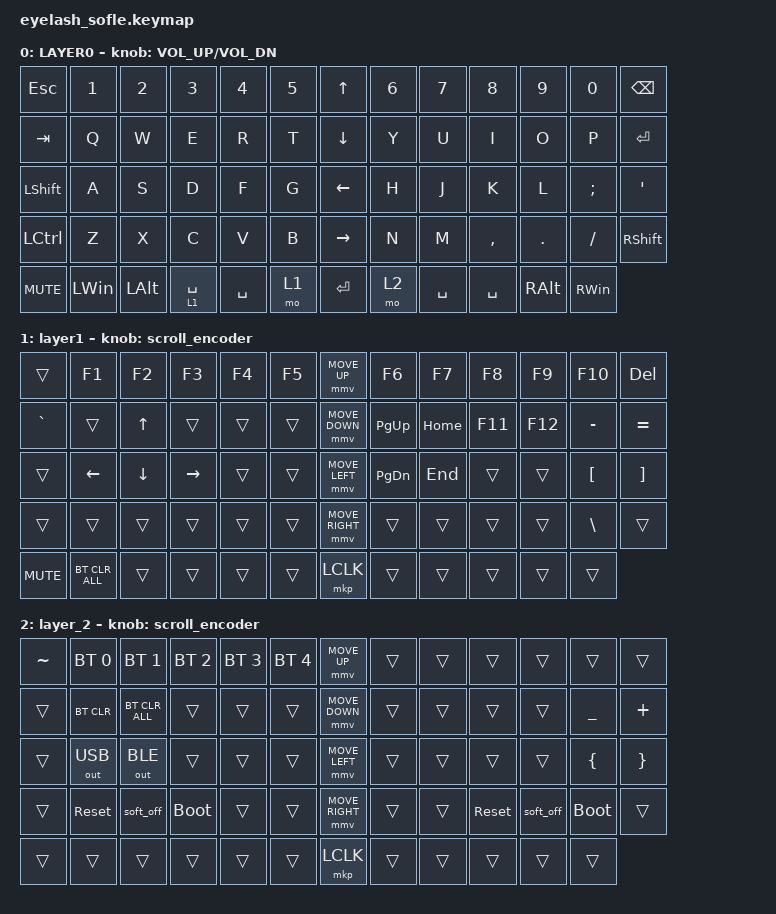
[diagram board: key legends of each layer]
#include <dt-bindings/zmk/mouse.h>
#include <input/processors.dtsi>
#include <behaviors.dtsi>
#include <dt-bindings/zmk/bt.h>
#include <dt-bindings/zmk/keys.h>
#include <dt-bindings/zmk/outputs.h>
#include <dt-bindings/zmk/pointing.h>

/*

   &mmv_input_listener {
       input-processors = <&zip_xy_scaler 2 1>;
   };

   &msc_input_listener {
       input-processors = <&zip_xy_scaler 2 1>;
   };

 */

#define ZMK_MOUSE_DEFAULT_MOVE_VAL 1200  // 600
#define ZMK_MOUSE_DEFAULT_SCRL_VAL 20    // 10

/ {
    behaviors {
        mmv {
            acceleration-exponent = <1>;      // 1
            time-to-max-speed-ms = <900>;    // 40
            delay-ms = <0>;                   // 0
        };

        msc {
            acceleration-exponent = <1>;      // 0
            time-to-max-speed-ms = <400>;      // 500
            delay-ms = <0>;                   //   10
        };
    };

    scroll_encoder: scroll_encoder {
        compatible = "zmk,behavior-sensor-rotate";
        #sensor-binding-cells = <0>;
        bindings = <&msc SCRL_DOWN>, <&msc SCRL_UP>;

        tap-ms = <30>;
    };

    Tap_Dance: Tap_Dance {
        compatible = "zmk,behavior-hold-tap";
        label = "TAP_DANCE";
        bindings = <&mo>, <&kp>;

        #binding-cells = <2>;
        tapping-term-ms = <200>;
    };

    keymap {
        compatible = "zmk,keymap";

        layer0 {
            bindings = <
&kp ESC         &kp N1        &kp N2        &kp N3              &kp N4     &kp N5    &kp UP_ARROW     &kp N6  &kp N7     &kp N8     &kp N9         &kp N0         &kp BACKSPACE
&kp TAB         &kp Q         &kp W         &kp E               &kp R      &kp T     &kp DOWN_ARROW   &kp Y   &kp U      &kp I      &kp O          &kp P          &kp ENTER
&kp LEFT_SHIFT  &kp A         &kp S         &kp D               &kp F      &kp G     &kp LEFT_ARROW   &kp H   &kp J      &kp K      &kp L          &kp SEMI       &kp APOS
&kp LCTRL       &kp Z         &kp X         &kp C               &kp V      &kp B     &kp RIGHT_ARROW  &kp N   &kp M      &kp COMMA  &kp DOT        &kp FSLH       &kp RIGHT_SHIFT
&kp C_MUTE      &kp LEFT_WIN  &kp LEFT_ALT  &Tap_Dance 1 SPACE  &kp SPACE  &mo 1     &kp ENTER        &mo 2   &kp SPACE  &kp SPACE  &kp RIGHT_ALT  &kp RIGHT_WIN
            >;

            sensor-bindings = <&inc_dec_kp C_VOLUME_UP C_VOL_DN>;
            display-name = "LAYER0";
        };

        layer_1 {
            bindings = <
&trans      &kp F1          &kp F2        &kp F3     &kp F4  &kp F5    &mmv MOVE_UP     &kp F6     &kp F7    &kp F8   &kp F9   &kp F10           &kp DEL
&kp GRAVE   &trans          &kp UP_ARROW  &trans     &trans  &trans    &mmv MOVE_DOWN   &kp PG_UP  &kp HOME  &kp F11  &kp F12  &kp MINUS         &kp EQUAL
&trans      &kp LEFT        &kp DOWN      &kp RIGHT  &trans  &trans    &mmv MOVE_LEFT   &kp PG_DN  &kp END   &trans   &trans   &kp LEFT_BRACKET  &kp RIGHT_BRACKET
&trans      &trans          &trans        &trans     &trans  &trans    &mmv MOVE_RIGHT  &trans     &trans    &trans   &trans   &kp BACKSLASH     &trans
&kp C_MUTE  &bt BT_CLR_ALL  &trans        &trans     &trans  &trans    &mkp LCLK        &trans     &trans    &trans   &trans   &trans
            >;

            display-name = "layer1";
            sensor-bindings = <&scroll_encoder>;
        };

        layer_2 {
            bindings = <
&kp TILDE  &bt BT_SEL 0  &bt BT_SEL 1    &bt BT_SEL 2  &bt BT_SEL 3  &bt BT_SEL 4    &mmv MOVE_UP     &trans  &trans  &trans      &trans     &trans       &trans
&trans     &bt BT_CLR    &bt BT_CLR_ALL  &trans        &trans        &trans          &mmv MOVE_DOWN   &trans  &trans  &trans      &trans     &kp UNDER    &kp PLUS
&trans     &out OUT_USB  &out OUT_BLE    &trans        &trans        &trans          &mmv MOVE_LEFT   &trans  &trans  &trans      &trans     &kp LBRC     &kp RBRC
&trans     &sys_reset    &soft_off       &bootloader   &trans        &trans          &mmv MOVE_RIGHT  &trans  &trans  &sys_reset  &soft_off  &bootloader  &trans
&trans     &trans        &trans          &trans        &trans        &trans          &mkp LCLK        &trans  &trans  &trans      &trans     &trans
            >;

            sensor-bindings = <&scroll_encoder>;
        };
    };
};
